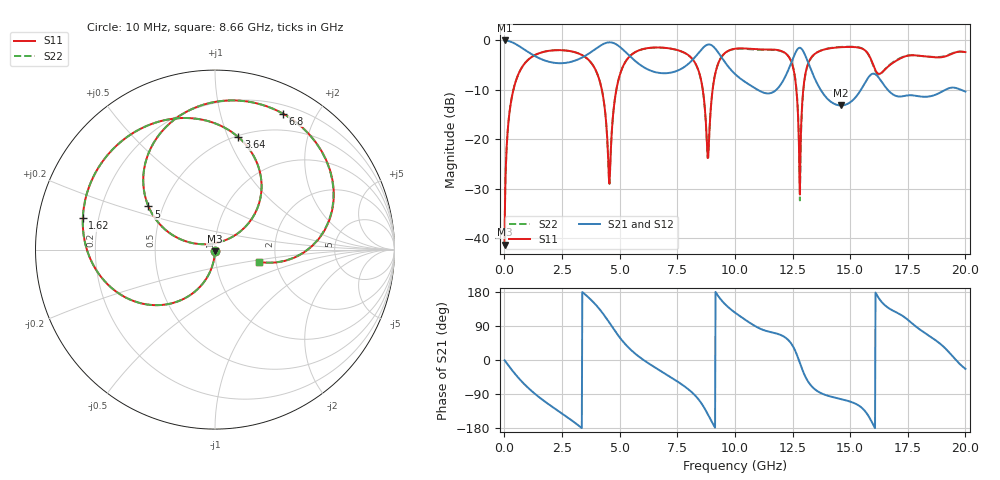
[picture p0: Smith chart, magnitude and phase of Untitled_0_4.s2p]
! TOUCHSTONE file generated by CST MICROWAVE STUDIO
! Date and time: Tue Oct 21 13:47:28 2025
! Project name: Untitled_0.cst
! Parameters = {E4_4=4.4; E4_3=0.85; E4_2=9.925; E4_1=10.075; E3_4=4.25; E3_3=0.85; E3_2=9.7; E3_1=10.3; E2_4=0.85; E2_3=-0.85; E2_2=11.85; E2_1=8.15; y=0.017; x=0; Tr6=-2; Tr5=2; Tr4=11; Tr3=2; Tr2=15; Tr1=-5; g3=3; g2=2; g1=0.15; E1_4=1; E1_3=-1; E1_2=12; E1_1=8; SP3_2_6=3.5; SP3_2_5=3.5; SP3_2_4=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
! Header version: 2018
! Port assignment regex: !\s*Touchstone port\s*([0-9]+)\s*=\s*(CST MWS port|CST DS port)\s*([0-9]+|Zmin|Zmax)\s*\(\"(.*)\"\)(\s*mode\s*([0-9]+))?.*
! Touchstone port assignment:
! Touchstone port 1 = CST MWS port 1 ("")
! Touchstone port 2 = CST MWS port 2 ("")
# GHz S DB R 50
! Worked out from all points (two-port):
!   1004 points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, 10 MHz to 20 GHz, reference 50 ohm
!   highest |S21| = 0.00 dB at 10 MHz (marker M1); lowest = -13.1 dB at 14.6 GHz (marker M2)
!   |S21| within 3 dB of the highest: start of sweep to 1.266 GHz; 3.545 GHz to 5.403 GHz (1.858 GHz wide, 41.5 % of centre)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
!   lowest |S11| = -41.3 dB at 10 MHz (marker M3), VSWR 1.02, Z = 50 - j0.862 ohm
!   |S11| at or under -10 dB: start of sweep to 390.4 MHz; 4.229 GHz to 4.856 GHz (627.2 MHz wide, 13.8 % of centre); 8.608 GHz to 9.033 GHz (424.8 MHz wide, 4.82 % of centre)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
!   |S22| runs from -41.6 to -1.3 dB; largest |S21 - S12| = 6.7e-05
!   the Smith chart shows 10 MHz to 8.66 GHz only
!   S11 on the Smith chart (normalised r, x): 10 MHz: 1.00, -0.02; 1.62 GHz: 0.14, +0.12; 3.64 GHz: 0.51, +1.09; 5 GHz: 0.42, +0.25; 6.8 GHz: 0.29, +1.58; 8.66 GHz: 1.63, -0.24
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0.01  -41.28 -92.1  -0.00 -0.8  -0.00 -0.8  -41.59 -92.1
0.16  -17.35 -103.5  -0.10 -13.1  -0.10 -13.1  -17.36 -103.5
0.4  -9.81 -122.2  -0.51 -31.9  -0.51 -31.9  -9.81 -122.2
1.62  -2.41 166.5  -3.82 -103.4  -3.82 -103.4  -2.42 166.5
3.36  -2.94 92.2  -3.48 -179.7  -3.48 -179.7  -2.94 92.2
3.64  -3.87 78.3  -2.73 165.6  -2.73 165.6  -3.87 78.3
4.2  -9.37 45.1  -0.96 128.7  -0.96 128.7  -9.38 45.1
4.54  -28.44 78.9  -0.39 99.9  -0.39 99.9  -28.52 79.0
5  -7.09 147.0  -1.27 59.8  -1.27 59.8  -7.09 147.0
6.68  -1.42 67.4  -6.54 -25.2  -6.54 -25.2  -1.43 67.4
6.8  -1.44 63.4  -6.61 -29.7  -6.61 -29.7  -1.45 63.4
7.98  -2.97 21.8  -4.74 -77.2  -4.74 -77.2  -3.00 21.7
8.66  -11.91 -15.6  -1.30 -125.0  -1.30 -125.0  -11.98 -15.5
8.84  -23.72 54.8  -0.82 -144.7  -0.82 -144.7  -23.63 56.2
9.24  -5.13 81.3  -2.20 172.1  -2.20 172.1  -5.13 81.2
10.02  -1.67 38.7  -6.85 124.4  -6.85 124.4  -1.72 38.5
12.32  -3.19 -35.4  -5.94 52.5  -5.94 52.5  -3.18 -34.3
12.82  -31.14 147.9  -1.49 -7.8  -1.49 -7.8  -32.34 176.1
13.34  -3.30 25.1  -6.36 -69.9  -6.36 -69.9  -3.35 26.4
14.6  -1.37 -18.2  -13.14 -103.1  -13.14 -103.1  -1.31 -17.6
16.68  -5.14 -34.9  -10.22 136.5  -10.22 136.5  -5.06 -33.6
20  -2.36 -81.2  -10.33 -23.4  -10.33 -23.4  -2.38 -81.1
